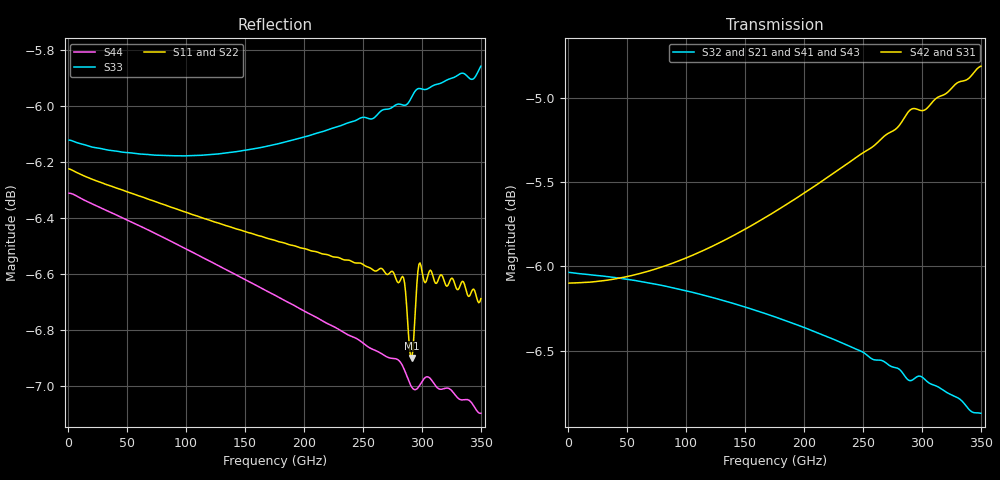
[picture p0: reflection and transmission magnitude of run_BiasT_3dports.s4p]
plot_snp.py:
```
from pathlib import Path

import skrf as rf
import matplotlib.pyplot as plt
import numpy as np

file = "/Users/matthi/QucsWorkspace/60_GHz_MPA_prj/openEMS/output/run_BiasT_3dports_data/run_BiasT_3dports.s4p"

nw = rf.Network(file)

n_ports = nw.nports
freq = nw.f / 1e9

# Create n_ports x n_ports grid
fig, axes = plt.subplots(
    n_ports,
    n_ports,
    figsize=(12, 10),
    squeeze=False
)

for i in range(n_ports):
    for j in range(n_ports):
        ax = axes[i, j]

        # Magnitude
        magnitude = 20 * np.log10(np.abs(nw.s[:, i, j]))

        magnitude_line, = ax.plot(
            freq,
            magnitude,
            label="Magnitude"
        )

        magnitude_color = magnitude_line.get_color()

        ax.set_title(f"S{i+1}{j+1}")
        ax.set_xlabel("Frequency (GHz)")
        ax.set_ylabel("Magnitude (dB)")
        ax.tick_params(axis="y", labelcolor=magnitude_color)
        ax.yaxis.label.set_color(magnitude_color)
        ax.grid(True)

        # Phase
        ax_phase = ax.twinx()

        # phase = np.angle(nw.s[:, i, j], deg=True) # -180 to +180
        phase = np.unwrap(np.angle(nw.s[:, i, j])) * 180 / np.pi # continous phase

        phase_line, = ax_phase.plot(
            freq,
            phase,
            color="tab:orange",
            label="Phase"
        )

        phase_color = phase_line.get_color()

        ax_phase.set_ylabel("Phase (°)")
        ax_phase.tick_params(axis="y", labelcolor=phase_color)
        ax_phase.yaxis.label.set_color(phase_color)

fig.suptitle(f"{n_ports}-port S-parameters", fontsize=14)
fig.tight_layout()

# Save picture
output_file = Path(file).with_suffix(".png")
fig.savefig(output_file, dpi=300, bbox_inches="tight")

plt.show()

print(f"Saved plot to: {output_file}")
```
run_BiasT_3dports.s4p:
#  Hz  S  RI  R  50
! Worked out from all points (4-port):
!   400 points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, 875 MHz to 350 GHz, reference 50 ohm
!   strongest paths, dB at 875 MHz, 88.38 GHz, 175.9 GHz, 263.4 GHz, 350 GHz:
!     S42: -6.1, -6.0, -5.7, -5.3, -4.8
!     S31: -6.0, -6.0, -5.8, -5.5, -5.2
!     S32: -6.0, -6.1, -6.3, -6.6, -6.9
!     S21: -6.1, -6.2, -6.3, -6.5, -6.6
!     S41: -6.2, -6.3, -6.4, -6.6, -6.8
!     S43: -6.1, -6.2, -6.4, -6.7, -7.1
!   lowest |S11| = -6.9 dB at 291.4 GHz (marker M1), VSWR 2.65, Z = 24.4 + j24.5 ohm
!   |S11| at or under -10 dB: nowhere
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8.75e8  -0.4883 0.00188  0.4962 -0.00126  0.4995 -0.000504  0.4925 -0.00154
        0.4962 -0.00121  -0.4909 0.00109  0.4991 -0.00106  0.4955 -0.000147
        0.4995 -0.00046  0.4991 -0.00108  -0.4942 0.00148  0.4955 -0.00128
        0.4924 -0.00149  0.4955 -0.000151  0.4954 -0.00126  -0.4835 0.0016
2.91375e11  -0.2126 0.3987  0.3457 -0.3081  0.501 -0.1918  0.2877 -0.3571
            0.3462 -0.3084  -0.3719 0.2543  0.3745 -0.2742  0.5537 -0.0954
            0.5002 -0.1913  0.3736 -0.2746  -0.3458 0.3653  0.3333 -0.3095
            0.2872 -0.3593  0.5498 -0.0956  0.332 -0.3096  -0.2726 0.3536
3.5e11  -0.1229 0.4464  0.2991 -0.3551  0.4956 -0.2348  0.2223 -0.4042
        0.299 -0.3566  -0.3394 0.289  0.3311 -0.312  0.5628 -0.1293
        0.4945 -0.2357  0.33 -0.3108  -0.2956 0.4149  0.2772 -0.3466
        0.2199 -0.4018  0.5597 -0.13  0.2764 -0.3461  -0.2077 0.3898
